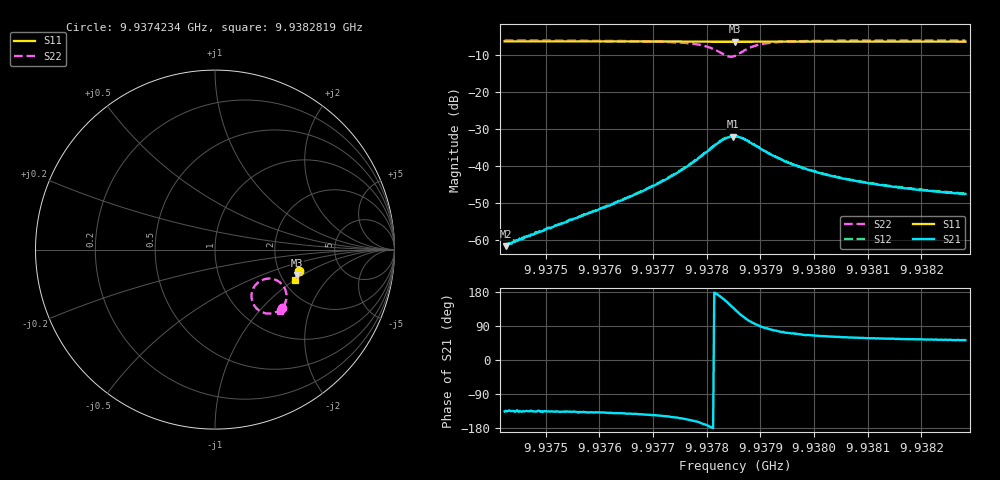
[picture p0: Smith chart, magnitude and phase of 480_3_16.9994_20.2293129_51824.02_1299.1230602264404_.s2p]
#  HZ  S  RI  R  50.00
! Rohde & Schwarz Vector Network Analyzer
! Rohde-Schwarz,ZNB20-2Port,1311601062101988,3.16
! Created: UTC 3/20/2024, 11:13:39 PM
! freq[Hz]  re:S11  im:S11  re:S21  im:S21  re:S12  im:S12  re:S22  im:S22
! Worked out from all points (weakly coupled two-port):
!   401 points, 9.9374234 GHz to 9.9382819 GHz, reference 50 ohm
!   highest |S21| = -32.08 dB at 9.9378484 GHz (marker M1); lowest = -61.8 dB at 9.9374256 GHz (marker M2)
!   lowest |S11| = -6.4 dB at 9.9378527 GHz (marker M3), VSWR 2.83, Z = 122 - j45.2 ohm
!   |S11| at or under -10 dB: nowhere
!   |S22| runs from -10.5 to -6.1 dB; largest |S21 - S12| = 0.0012
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9.93742344e9  0.4687 -0.1168  -0.000608 -0.00059  -0.000602 -0.000555  0.3758 -0.3253
9.93742558e9  0.4686 -0.1168  -0.000566 -0.000586  -0.000569 -0.000601  0.3757 -0.3253
9.93745563e9  0.468 -0.1187  -0.00073 -0.000696  -0.000746 -0.00075  0.373 -0.3276
9.93756723e9  0.4655 -0.1262  -0.00154 -0.00142  -0.0016 -0.00141  0.3604 -0.3374
9.93762303e9  0.4643 -0.1301  -0.00228 -0.00193  -0.00235 -0.00194  0.351 -0.3433
9.93771102e9  0.462 -0.136  -0.00487 -0.00319  -0.005 -0.00319  0.3247 -0.3534
9.93775609e9  0.4604 -0.1392  -0.00814 -0.00385  -0.00835 -0.00377  0.2957 -0.3564
9.93779687e9  0.4588 -0.1416  -0.0146 -0.00254  -0.0149 -0.00239  0.2448 -0.3388
9.93781404e9  0.4578 -0.1425  -0.0186 0.000757  -0.019 0.000991  0.2168 -0.3081
9.93782906e9  0.4568 -0.1429  -0.0213 0.00629  -0.0216 0.00709  0.2034 -0.259
9.93783979e9  0.4566 -0.143  -0.021 0.012  -0.021 0.0129  0.2138 -0.215
9.93784837e9  0.4566 -0.143  -0.0187 0.0164  -0.0186 0.0173  0.2383 -0.1844
9.93785267e9  0.4565 -0.1429  -0.0171 0.0181  -0.0167 0.0191  0.2545 -0.1735
9.9378634e9  0.4568 -0.1431  -0.0118 0.0208  -0.0112 0.0214  0.2993 -0.1616
9.93787842e9  0.4573 -0.1441  -0.00495 0.0206  -0.00464 0.021  0.3501 -0.1749
9.93790203e9  0.4575 -0.1459  0.000636 0.0167  0.00105 0.0168  0.3878 -0.2148
9.93794924e9  0.4569 -0.1495  0.00346 0.0106  0.00359 0.0107  0.3984 -0.268
9.93799646e9  0.4557 -0.1529  0.0036 0.00773  0.00377 0.00771  0.3927 -0.2937
9.93805655e9  0.454 -0.1571  0.00331 0.00578  0.00345 0.00578  0.3848 -0.3111
9.93814025e9  0.4519 -0.1624  0.00291 0.0044  0.00306 0.00441  0.3755 -0.325
9.93820034e9  0.4504 -0.1663  0.00271 0.00381  0.00282 0.00385  0.3702 -0.3319
9.9382819e9  0.4479 -0.1717  0.00255 0.0033  0.00263 0.00329  0.3635 -0.3394
